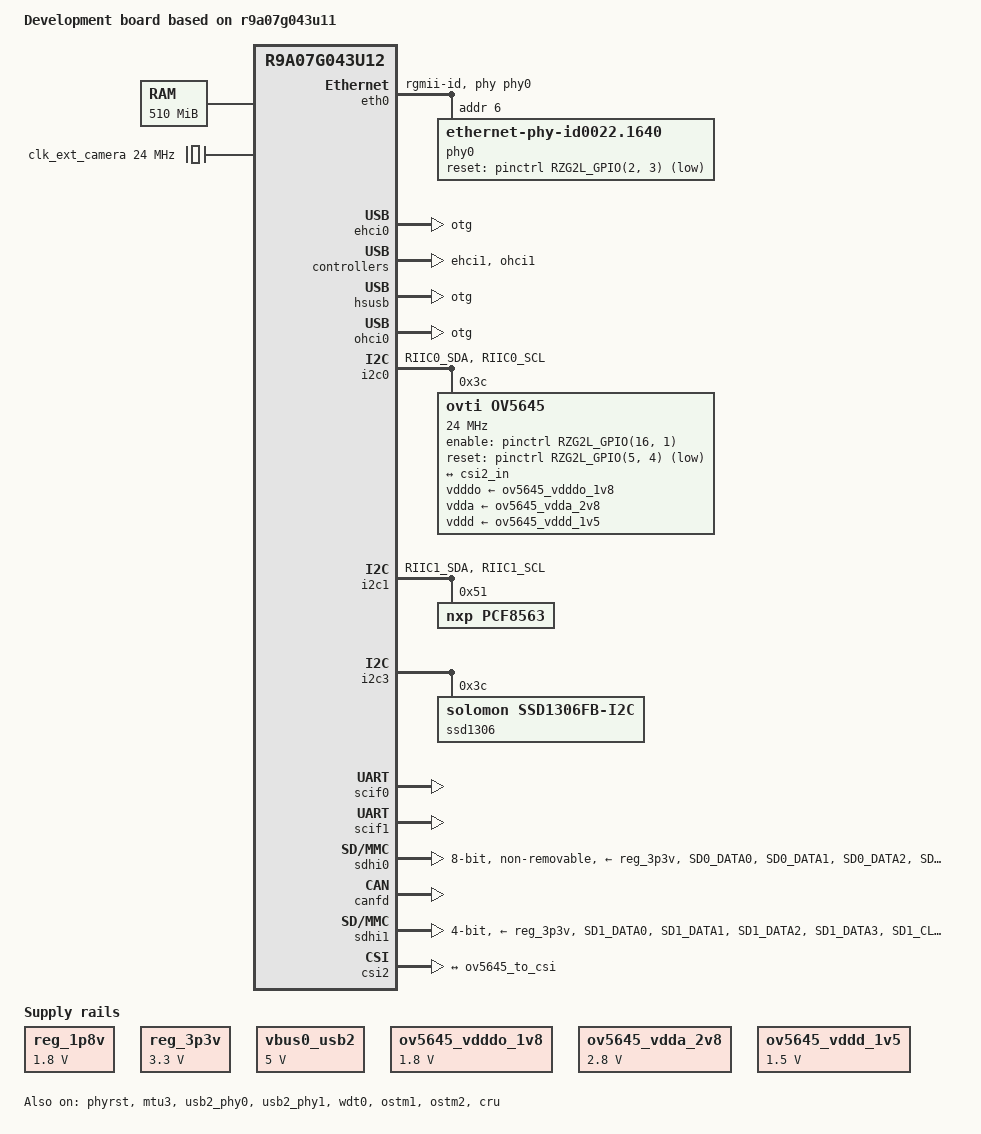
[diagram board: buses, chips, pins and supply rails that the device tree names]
// SPDX-License-Identifier: GPL-2.0
/*
 * Device Tree Source for the RZG2UL TINY SOM
 *
 * Copyright (C) 2025 CALIXTO SYSTEMS PVT LTD.
 */

/dts-v1/;
#include "r9a07g043.dtsi"
#include <dt-bindings/pinctrl/rzg2l-pinctrl.h>
#include <dt-bindings/gpio/gpio.h>

/ {
	model = "Development board based on r9a07g043u11";
	compatible = "renesas,r9a07g043", "renesas,r9a07g043u12";
	
	
	aliases {
		i2c0 = &i2c0;
		i2c1 = &i2c1;
		i2c2 = &i2c2;
		serial0 = &scif0;
		ethernet0 = &eth0;
	};

	chosen {
		bootargs = "ignore_loglevel";
		stdout-path = "serial0:115200n8";
	};

	memory@40200000 {
		device_type = "memory";
		/* first 2MB is reserved for secure area. */
		reg = <0x0 0x40200000 0x0 0x1FE00000>;
	};

	reserved-memory {
	    #address-cells = <2>;
	    #size-cells = <2>;
	    ranges;

	    global_cma: linux,cma@54000000 {
		compatible = "shared-dma-pool";
		linux,cma-default;
		reusable;
		reg = <0x0 0x54000000 0x0 0x6000000>;  /* 96MB CMA */
	    };
	    
	    mmp_reserved: linux,multimedia@5A000000 {
		compatible = "shared-dma-pool";
		reusable;
		reg = <0x0 0x5A000000 0x0 0x4000000>;  /* 64MB Multimedia */
	    };
	};

	mmngr {
		compatible = "renesas,mmngr";
		memory-region = <&mmp_reserved>;
		
	};

	mmngrbuf {
		compatible = "renesas,mmngrbuf";
	};

	vspm_if {
		compatible = "renesas,vspm_if";
	};
	
		reg_1p8v: regulator0 {
		compatible = "regulator-fixed";

		regulator-name = "fixed-1.8V";
		regulator-min-microvolt = <1800000>;
		regulator-max-microvolt = <1800000>;
		regulator-boot-on;
		regulator-always-on;
	};

	reg_3p3v: regulator1 {
		compatible = "regulator-fixed";

		regulator-name = "fixed-3.3V";
		regulator-min-microvolt = <3300000>;
		regulator-max-microvolt = <3300000>;
		regulator-boot-on;
		regulator-always-on;
	};

	vbus0_usb2: regulator-vbus0-usb2 {
		compatible = "regulator-fixed";

		regulator-name = "USB20_VBUS0";
		regulator-min-microvolt = <5000000>;
		regulator-max-microvolt = <5000000>;
	};
	
	x1_clk: x1-clock {
		compatible = "fixed-clock";
		#clock-cells = <0>;
		clock-frequency = <24000000>;
	};

	clk_ext_camera: clk_ext_camera {
		compatible = "fixed-clock";
		#clock-cells = <0>;
		clock-frequency = <24000000>;
	};

	ov5645_vdddo_1v8: 1p8v {
		compatible = "regulator-fixed";
		regulator-name = "camera_vdddo";
		regulator-min-microvolt = <1800000>;
		regulator-max-microvolt = <1800000>;
		regulator-always-on;
	};

	ov5645_vdda_2v8: 2p8v {
		compatible = "regulator-fixed";
		regulator-name = "camera_vdda";
		regulator-min-microvolt = <2800000>;
		regulator-max-microvolt = <2800000>;
		regulator-always-on;
	};

	ov5645_vddd_1v5: 1p5v {
		compatible = "regulator-fixed";
		regulator-name = "camera_vddd";
		regulator-min-microvolt = <1500000>;
		regulator-max-microvolt = <1500000>;
		regulator-always-on;
	};
};

&eth0 {
	pinctrl-0 = <&ether0_pins>;
	pinctrl-names = "default";
	phy-handle = <&phy0>;
	phy-mode = "rgmii-id";
	status = "okay";

	phy0: ethernet-phy@6 {
		compatible = "ethernet-phy-id0022.1640",
		     "ethernet-phy-ieee802.3-c22";
		reg = <6>;
		rxc-skew-psec = <2400>;
		txc-skew-psec = <2400>;
		rxdv-skew-psec = <0>;
		txdv-skew-psec = <0>;
		rxd0-skew-psec = <0>;
		rxd1-skew-psec = <0>;
		rxd2-skew-psec = <0>;
		rxd3-skew-psec = <0>;
		txd0-skew-psec = <0>;
		txd1-skew-psec = <0>;
		txd2-skew-psec = <0>;
		txd3-skew-psec = <0>;
		
		reset-assert-us = <1000000>;
		reset-deassert-us = <1000000>;
		reset-gpios = <&pinctrl RZG2L_GPIO(2, 3) GPIO_ACTIVE_LOW>;

		//interrupt-parent = <&pinctrl>;
		//interrupts = <RZG2L_GPIO(0, 3) IRQ_TYPE_EDGE_FALLING>;
	};
};

&ehci0 {
	dr_mode = "otg";
	status = "okay";
};

&ehci1 {
	status = "okay";
};

&phyrst {
	status = "okay";
};

&hsusb {
	dr_mode = "otg";
	status = "okay";
};

&ohci0 {
	dr_mode = "otg";
	status = "okay";
};

&ohci1 {
	status = "okay";
};

&i2c0 {
	pinctrl-0 = <&i2c0_pins>;
	pinctrl-names = "default";

	status = "okay";

	ov5645: camera@3c {
		compatible = "ovti,ov5645";
		reg = <0x3c>;
		clock-names = "xclk";
		clocks = <&clk_ext_camera>;
		clock-frequency = <24000000>;
		vdddo-supply = <&ov5645_vdddo_1v8>;
		vdda-supply = <&ov5645_vdda_2v8>;
		vddd-supply = <&ov5645_vddd_1v5>;

		port {
			ov5645_to_csi: endpoint {
				clock-lanes = <0>;
				data-lanes = <1 2>;
				remote-endpoint = <&csi2_in>;
			};
		};
	}; 
	
};

&i2c1 {
	pinctrl-0 = <&i2c1_pins>;
	pinctrl-names = "default";
	status = "okay";
	
	pcf8563@51 {
		compatible = "nxp,pcf8563";
		reg = <0x51>;
	};
};


&i2c3 {
        pinctrl-0 = <&i2c3_pins>;
        pinctrl-names = "default";
        status = "okay";

        ssd1306: oled@3c {
                compatible = "solomon,ssd1306fb-i2c";
                reg = <0x3c>;
		solomon,height = <32>;
		solomon,width = <128>;
		solomon,page-offset = <0>;
		// reset-gpios = <&pinctrl RZG2L_GPIO(17, 3) GPIO_ACTIVE_LOW>;
        };
        
};

&ohci0 {
	memory-region = <&global_cma>;
	dr_mode = "otg";
	status = "okay";
};

&ohci1 {
	memory-region = <&global_cma>;
	status = "okay";
};

&pinctrl {

	canfd1_pins: can1 {
		pinmux = <RZG2L_PORT_PINMUX(17, 0, 3)>, /* TX */
			 <RZG2L_PORT_PINMUX(17, 1, 3)>; /* RX */
	};

	ether0_pins: eth0 {
		pinmux = <RZG2L_PORT_PINMUX(4, 5, 1)>, /* ET0_LINKSTA */
			 <RZG2L_PORT_PINMUX(4, 3, 1)>, /* ET0_MDC */
			 <RZG2L_PORT_PINMUX(4, 4, 1)>, /* ET0_MDIO */
			 <RZG2L_PORT_PINMUX(1, 0, 1)>, /* ET0_TXC */
			 <RZG2L_PORT_PINMUX(1, 1, 1)>, /* ET0_TX_CTL */
			 <RZG2L_PORT_PINMUX(1, 2, 1)>, /* ET0_TXD0 */
			 <RZG2L_PORT_PINMUX(1, 3, 1)>, /* ET0_TXD1 */
			 <RZG2L_PORT_PINMUX(1, 4, 1)>, /* ET0_TXD2 */
			 <RZG2L_PORT_PINMUX(2, 0, 1)>, /* ET0_TXD3 */
			 <RZG2L_PORT_PINMUX(3, 0, 1)>, /* ET0_RXC */
			 <RZG2L_PORT_PINMUX(3, 1, 1)>, /* ET0_RX_CTL */
			 <RZG2L_PORT_PINMUX(3, 2, 1)>, /* ET0_RXD0 */
			 <RZG2L_PORT_PINMUX(3, 3, 1)>, /* ET0_RXD1 */
			 <RZG2L_PORT_PINMUX(4, 0, 1)>, /* ET0_RXD2 */
			 <RZG2L_PORT_PINMUX(4, 1, 1)>; /* ET0_RXD3 */
	};


	scif0_pins: scif0 {
		pinmux = <RZG2L_PORT_PINMUX(13, 0, 1)>, /* TxD */
			 <RZG2L_PORT_PINMUX(13, 1, 1)>; /* RxD */
	};
	scif1_pins: scif1 {
		pinmux = <RZG2L_PORT_PINMUX(14, 0, 1)>, /* TxD */
			 <RZG2L_PORT_PINMUX(14, 1, 1)>; /* RxD */
			/* <RZG2L_PORT_PINMUX(16, 0, 0)>; *//* GPIO - RS485 Output Enable */
	};


	i2c0_pins: i2c0 {
		pins = "RIIC0_SDA", "RIIC0_SCL";
		input-enable;
	};

	i2c1_pins: i2c1 {
		pins = "RIIC1_SDA", "RIIC1_SCL";
		input-enable;
	};
	i2c3_pins: i2c3 {
		pinmux = <RZG2L_PORT_PINMUX(0, 0, 3)>, /* SDA */
			 <RZG2L_PORT_PINMUX(0, 1, 3)>; /* SCL */
	};


	sdhi0_pins: sd0 {
		sd0_data {
			pins =  "SD0_DATA0", "SD0_DATA1", "SD0_DATA2",
				"SD0_DATA3", "SD0_DATA4", "SD0_DATA5",
				"SD0_DATA6", "SD0_DATA7";
			power-source  = <1800>;
		};

		sd0_ctrl {
			pins = "SD0_CLK", "SD0_CMD", "SD0_RST#";
			power-source = <1800>;
		};
	};



	sdhi1_pins: sd1 {
		sd1_data {
			pins =	"SD1_DATA0", "SD1_DATA1", "SD1_DATA2",
				"SD1_DATA3";
			power-source  = <3300>;
		};

		sd1_ctrl {
			pins = "SD1_CLK", "SD1_CMD";
			power-source  = <3300>;
		};

		sd1_mux {

			pinmux = <RZG2L_PORT_PINMUX(0, 2, 1)>; /* SD1_CD */

		};
	};

	usb0_pins: usb0 {
		pinmux = <RZG2L_PORT_PINMUX(5, 0, 1)>, /* VBUS */
			 <RZG2L_PORT_PINMUX(5, 2, 1)>, /* OVC */
			 <RZG2L_PORT_PINMUX(5, 3, 1)>; /* OTG_ID */
	};

	usb1_pins: usb1 {
		pinmux = <RZG2L_PORT_PINMUX(6, 1, 1)>, /* OVC */
			 <RZG2L_PORT_PINMUX(6, 0, 1)>; /* VBUS */
	};

};

&scif0 {
	pinctrl-0 = <&scif0_pins>;
	pinctrl-names = "default";
	status = "okay";
};


&scif1 {
	pinctrl-0 = <&scif1_pins>;
	pinctrl-names = "default";
	status = "okay";
};

&sdhi0 {
	pinctrl-0 = <&sdhi0_pins>;
	pinctrl-1 = <&sdhi0_pins>;
	pinctrl-names = "default", "state_uhs";

	vmmc-supply = <&reg_3p3v>;
	vqmmc-supply = <&reg_1p8v>;
	bus-width = <8>;
	mmc-hs200-1_8v;
	non-removable;
	fixed-emmc-driver-type = <1>;
	status = "okay";
};

&canfd {
	pinctrl-0 = <&canfd1_pins>;
	pinctrl-names = "default";
	renesas,no-can-fd;
	status = "okay";

	channel1 {
		status = "okay";
	};
};

&sdhi1 {
	pinctrl-0 = <&sdhi1_pins>;
	pinctrl-names = "default";

	vmmc-supply = <&reg_3p3v>;
	vqmmc-supply = <&reg_3p3v>;
	max-frequency = <50000000>;
	bus-width = <4>;
	//sd-uhs-sdr50;
	status = "okay";
};

&mtu3 {
	status = "okay";
};

&usb2_phy0 {
	pinctrl-0 = <&usb0_pins>;
	pinctrl-names = "default";

	vbus-supply = <&vbus0_usb2>;
	status = "okay";
};

&usb2_phy1 {
	pinctrl-0 = <&usb1_pins>;
	pinctrl-names = "default";

	status = "okay";
};

&extal_clk {
	clock-frequency = <24000000>;
};

&wdt0 {
	status = "okay";
	timeout-sec = <60>;
};


&ostm1 {
	status = "okay";
};

&ostm2 {
	status = "okay";
};

&cru {
	status = "okay";
};


&csi2 {
	status = "okay";

	ports {
		port {
			csi2_in: endpoint {
				clock-lanes = <0>;
				data-lanes = <1 2>;
				remote-endpoint = <&ov5645_to_csi>;
			};
		};
	}; 
};

&ov5645 {
	enable-gpios = <&pinctrl RZG2L_GPIO(16, 1) GPIO_ACTIVE_HIGH>;
	reset-gpios = <&pinctrl RZG2L_GPIO(5, 4) GPIO_ACTIVE_LOW>;
};

